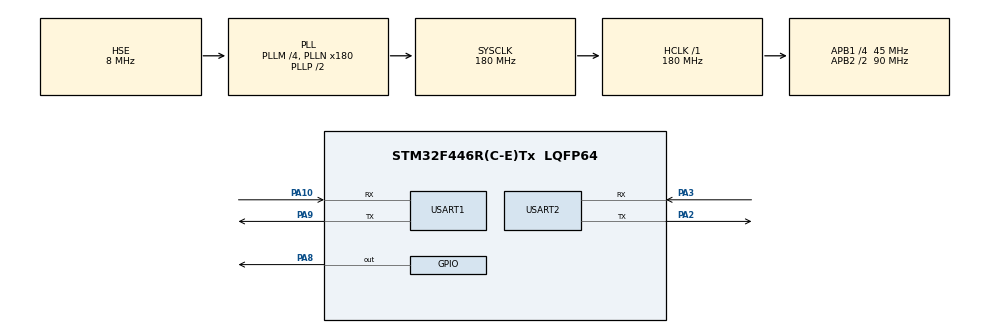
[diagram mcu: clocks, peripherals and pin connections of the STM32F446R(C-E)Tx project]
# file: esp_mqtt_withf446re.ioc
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Mcu.Family=STM32F4
Mcu.Name=STM32F446R(C-E)Tx
Mcu.Package=LQFP64
NVIC.PriorityGroup=NVIC_PRIORITYGROUP_4
NVIC.USART1_IRQn=true\:0\:0\:false\:false\:true\:true\:true
PA10.Mode=Asynchronous
PA10.Signal=USART1_RX
PA2.Mode=Asynchronous
PA2.Signal=USART2_TX
PA3.Mode=Asynchronous
PA3.Signal=USART2_RX
PA8.GPIO_Speed=GPIO_SPEED_FREQ_HIGH
PA8.Signal=GPIO_Output
PA9.Mode=Asynchronous
PA9.Signal=USART1_TX
PH0-OSC_IN.Mode=HSE-External-Oscillator
PH0-OSC_IN.Signal=RCC_OSC_IN
PH1-OSC_OUT.Mode=HSE-External-Oscillator
PH1-OSC_OUT.Signal=RCC_OSC_OUT
ProjectManager.HeapSize=0x200
ProjectManager.StackSize=0x400
ProjectManager.TargetToolchain=STM32CubeIDE
RCC.AHBFreq_Value=180000000
RCC.APB1CLKDivider=RCC_HCLK_DIV4
RCC.APB1Freq_Value=45000000
RCC.APB1TimFreq_Value=90000000
RCC.APB2CLKDivider=RCC_HCLK_DIV2
RCC.APB2Freq_Value=90000000
RCC.APB2TimFreq_Value=180000000
RCC.CortexFreq_Value=180000000
RCC.HCLKFreq_Value=180000000
RCC.HSE_VALUE=8000000
RCC.PLLM=4
RCC.PLLN=180
RCC.PLLSourceVirtual=RCC_PLLSOURCE_HSE
RCC.SYSCLKFreq_VALUE=180000000
RCC.SYSCLKSource=RCC_SYSCLKSOURCE_PLLCLK
RCC.USBFreq_Value=180000000
RCC.VCOOutputFreq_Value=360000000
USART1.VirtualMode=VM_ASYNC
USART2.VirtualMode=VM_ASYNC
board=custom

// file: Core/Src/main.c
/* USER CODE BEGIN Header */
/**
  ******************************************************************************
  * @file           : main.c
  * @brief          : Main program body
  ******************************************************************************
  * @attention
  *
  * <h2><center>&copy; Copyright (c) 2022 STMicroelectronics.
  * All rights reserved.</center></h2>
  *
  * This software component is licensed by ST under BSD 3-Clause license,
  * the "License"; You may not use this file except in compliance with the
  * License. You may obtain a copy of the License at:
  *                        opensource.org/licenses/BSD-3-Clause
  *
  ******************************************************************************
  */
/* USER CODE END Header */
#include "main.h"

/* USER CODE BEGIN Includes */
#include "wifi_connect.h"
#include "string.h"

/* USER CODE END Includes */

/* USER CODE BEGIN PTD */
extern char rx_buffer[150];
extern char tx_buffer[150];
extern void mqtthandler(const char * topic,const char * payload);
/* USER CODE END PTD */

/* USER CODE BEGIN PD */
HAL_UART_RxCpltCallback(UART_HandleTypeDef *huart)
{
  if(huart->Instance==USART1)
	   esp8266_rxcallback();

}

void set_pa8_high(){
	HAL_GPIO_WritePin(GPIOA, GPIO_PIN_8, GPIO_PIN_SET);
}
/* USER CODE END PD */

/* USER CODE BEGIN PM */
#define WIFI_SSID "TurkTelekom_TE976"
#define WIFI_PSWD "NgX32tv7"

/* USER CODE END PM */

UART_HandleTypeDef huart1;
UART_HandleTypeDef huart2;

void SystemClock_Config(void);
static void MX_GPIO_Init(void);
static void MX_USART1_UART_Init(void);
static void MX_USART2_UART_Init(void);
/* USER CODE BEGIN PFP */
char transmit_infodata[150];
/* USER CODE END PFP */

int main(void)
{

  /* MCU Configuration--------------------------------------------------------*/

  /* Reset of all peripherals, Initializes the Flash interface and the Systick. */
  HAL_Init();

  /* Configure the system clock */
  SystemClock_Config();

  /* Initialize all configured peripherals */
  MX_GPIO_Init();
  MX_USART1_UART_Init();
  MX_USART2_UART_Init();
  /* USER CODE BEGIN 2 */
  HAL_UART_Receive_IT(&huart1,(uint8_t *)rx_buffer,100);
 set_pa8_high();
Wifi_connect(WIFI_SSID, WIFI_PSWD);
HAL_Delay(5000);
uint16_t keepalive=60;
connect_broker("5.196.95.208", "1883", "MQTT", "Semih35", keepalive, 0x02);
HAL_Delay(500);
setmqttcallback(mqtthandler);
HAL_Delay(2000);
uint32_t publishtime=HAL_GetTick();
uint32_t connectionsendpackettime=HAL_GetTick();

char transfer_data[123];
mqtt_publish("espdeneme", "semihdemirli");
subscribe_handler();
 uint8_t sub=1;
  /* USER CODE END 2 */

  /* Infinite loop */
  while (1)
  {

    /* USER CODE BEGIN 3 */
if((HAL_GetTick()-publishtime)>240000){
	mqtt_publish("espdeneme", "semihdemirli");
	publishtime=HAL_GetTick();

}
if((HAL_GetTick()-connectionsendpackettime)>45000){
	if(mqtt_is_connected()==MQTT_IS_NOT_CONNECTED){
		connect_broker("5.196.95.208", "1883", "MQTT", "Semih35", keepalive, 0x02);
		HAL_Delay(10);
		connectionsendpackettime=HAL_GetTick();
		HAL_Delay(10);
		sub=0;

	}
}
if(!sub){
	subscribe_handler();
	sub++;
}
read_message();
//mqtt_loop();
	  HAL_Delay(500);

  }
  /* USER CODE END 3 */
}

void SystemClock_Config(void)
{
  RCC_OscInitTypeDef RCC_OscInitStruct = {0};
  RCC_ClkInitTypeDef RCC_ClkInitStruct = {0};

  /** Configure the main internal regulator output voltage
  */
  __HAL_RCC_PWR_CLK_ENABLE();
  __HAL_PWR_VOLTAGESCALING_CONFIG(PWR_REGULATOR_VOLTAGE_SCALE1);
  /** Initializes the RCC Oscillators according to the specified parameters
  * in the RCC_OscInitTypeDef structure.
  */
  RCC_OscInitStruct.OscillatorType = RCC_OSCILLATORTYPE_HSE;
  RCC_OscInitStruct.HSEState = RCC_HSE_ON;
  RCC_OscInitStruct.PLL.PLLState = RCC_PLL_ON;
  RCC_OscInitStruct.PLL.PLLSource = RCC_PLLSOURCE_HSE;
  RCC_OscInitStruct.PLL.PLLM = 4;
  RCC_OscInitStruct.PLL.PLLN = 180;
  RCC_OscInitStruct.PLL.PLLP = RCC_PLLP_DIV2;
  RCC_OscInitStruct.PLL.PLLQ = 2;
  RCC_OscInitStruct.PLL.PLLR = 2;
  if (HAL_RCC_OscConfig(&RCC_OscInitStruct) != HAL_OK)
  {
    Error_Handler();
  }
  /** Activate the Over-Drive mode
  */
  if (HAL_PWREx_EnableOverDrive() != HAL_OK)
  {
    Error_Handler();
  }
  /** Initializes the CPU, AHB and APB buses clocks
  */
  RCC_ClkInitStruct.ClockType = RCC_CLOCKTYPE_HCLK|RCC_CLOCKTYPE_SYSCLK
                              |RCC_CLOCKTYPE_PCLK1|RCC_CLOCKTYPE_PCLK2;
  RCC_ClkInitStruct.SYSCLKSource = RCC_SYSCLKSOURCE_PLLCLK;
  RCC_ClkInitStruct.AHBCLKDivider = RCC_SYSCLK_DIV1;
  RCC_ClkInitStruct.APB1CLKDivider = RCC_HCLK_DIV4;
  RCC_ClkInitStruct.APB2CLKDivider = RCC_HCLK_DIV2;

  if (HAL_RCC_ClockConfig(&RCC_ClkInitStruct, FLASH_LATENCY_5) != HAL_OK)
  {
    Error_Handler();
  }
}

static void MX_USART1_UART_Init(void)
{

  huart1.Instance = USART1;
  huart1.Init.BaudRate = 115200;
  huart1.Init.WordLength = UART_WORDLENGTH_8B;
  huart1.Init.StopBits = UART_STOPBITS_1;
  huart1.Init.Parity = UART_PARITY_NONE;
  huart1.Init.Mode = UART_MODE_TX_RX;
  huart1.Init.HwFlowCtl = UART_HWCONTROL_NONE;
  huart1.Init.OverSampling = UART_OVERSAMPLING_16;
  if (HAL_UART_Init(&huart1) != HAL_OK)
  {
    Error_Handler();
  }

}

static void MX_USART2_UART_Init(void)
{

  huart2.Instance = USART2;
  huart2.Init.BaudRate = 115200;
  huart2.Init.WordLength = UART_WORDLENGTH_8B;
  huart2.Init.StopBits = UART_STOPBITS_1;
  huart2.Init.Parity = UART_PARITY_NONE;
  huart2.Init.Mode = UART_MODE_TX_RX;
  huart2.Init.HwFlowCtl = UART_HWCONTROL_NONE;
  huart2.Init.OverSampling = UART_OVERSAMPLING_16;
  if (HAL_UART_Init(&huart2) != HAL_OK)
  {
    Error_Handler();
  }

}

static void MX_GPIO_Init(void)
{
  GPIO_InitTypeDef GPIO_InitStruct = {0};

  /* GPIO Ports Clock Enable */
  __HAL_RCC_GPIOH_CLK_ENABLE();
  __HAL_RCC_GPIOA_CLK_ENABLE();

  /*Configure GPIO pin Output Level */
  HAL_GPIO_WritePin(GPIOA, GPIO_PIN_8, GPIO_PIN_RESET);

  /*Configure GPIO pin : PA8 */
  GPIO_InitStruct.Pin = GPIO_PIN_8;
  GPIO_InitStruct.Mode = GPIO_MODE_OUTPUT_PP;
  GPIO_InitStruct.Pull = GPIO_NOPULL;
  GPIO_InitStruct.Speed = GPIO_SPEED_FREQ_HIGH;
  HAL_GPIO_Init(GPIOA, &GPIO_InitStruct);

}

void Error_Handler(void)
{
  __disable_irq();
  while (1)
  {
  }
}

/************************ (C) COPYRIGHT STMicroelectronics *****END OF FILE****/
